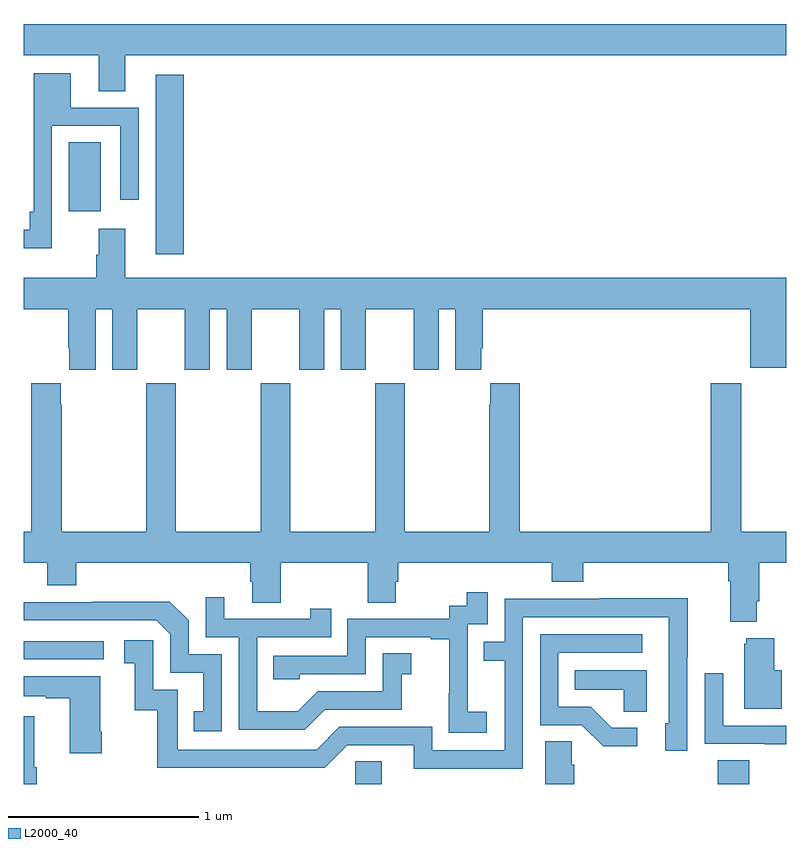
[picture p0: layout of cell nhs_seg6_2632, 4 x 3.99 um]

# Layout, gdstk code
import gdstk
lib = gdstk.Library(unit=1e-6, precision=1e-09)
def R(c, l, rs):  # rectangles x0, y0, x1, y1
    for r in rs: c.add(gdstk.rectangle(r[:2], r[2:], *l))
def P(c, l, *ps):  # polygons
    for p in ps: c.add(gdstk.Polygon(p, *l))
L2000_40 = (2000, 40)

nhs_seg6_2632 = lib.new_cell('nhs_seg6_2632')
R(nhs_seg6_2632, L2000_40, [(268.74,955.5,268.879,955.619), (270.641,955.5,270.806,955.625), (267,956.154,267.418,956.25), (267.692,958.281,267.839,959.221), (267.236,958.506,267.403,958.868)])
P(nhs_seg6_2632, L2000_40, [(267.532,959.324),(271,959.324),(271,959.488),(267,959.488),(267,959.324),(267.392,959.324),(267.392,959.134),(267.532,959.134)],
  [(267.147,958.953),(267.507,958.953),(267.507,958.566),(267.603,958.566),(267.603,959.049),(267.247,959.049),(267.247,959.23),(267.051,959.23),(267.051,958.504),(267.031,958.504),(267.031,958.408),(267,958.408),(267,958.31),(267.147,958.31)],
  [(267.376,957.992),(267.464,957.992),(267.464,957.675),(267.595,957.675),(267.595,957.992),(267.845,957.992),(267.845,957.675),(267.976,957.675),(267.976,957.992),(268.064,957.992),(268.064,957.675),(268.195,957.675),(268.195,957.992),(268.445,957.992),(268.445,957.675),(268.576,957.675),(268.576,957.992),(268.664,957.992),(268.664,957.675),(268.795,957.675),(268.795,957.992),(269.045,957.992),(269.045,957.675),(269.176,957.675),(269.176,957.992),(269.264,957.992),(269.264,957.675),(269.401,957.675),(269.401,957.787),(269.408,957.787),(269.408,957.992),(270.812,957.992),(270.812,957.683),(271,957.683),(271,958.156),(267.532,958.156),(267.532,958.414),(267.392,958.414),(267.392,958.277),(267.38,958.277),(267.38,958.156),(267,958.156),(267,957.992),(267.233,957.992),(267.233,957.787),(267.239,957.787),(267.239,957.675),(267.376,957.675)],
  [(268.347,956.66),(268.804,956.66),(268.804,956.452),(268.951,956.452),(268.951,956.562),(268.964,956.562),(268.964,956.66),(269.771,956.66),(269.771,956.561),(269.936,956.561),(269.936,956.66),(270.695,956.66),(270.695,956.564),(270.707,956.564),(270.707,956.351),(270.847,956.351),(270.847,956.458),(270.86,956.458),(270.86,956.66),(271,956.66),(271,956.824),(270.765,956.824),(270.765,957.604),(270.605,957.604),(270.605,956.824),(269.603,956.824),(269.603,957.604),(269.447,957.604),(269.447,957.491),(269.443,957.491),(269.443,956.824),(268.998,956.824),(268.998,957.604),(268.843,957.604),(268.843,956.824),(268.398,956.824),(268.398,957.604),(268.243,957.604),(268.243,956.824),(267.798,956.824),(267.798,957.604),(267.643,957.604),(267.643,956.824),(267.198,956.824),(267.198,957.491),(267.193,957.491),(267.193,957.604),(267.038,957.604),(267.038,956.824),(267,956.824),(267,956.66),(267.122,956.66),(267.122,956.543),(267.275,956.543),(267.275,956.66),(268.187,956.66),(268.187,956.562),(268.199,956.562),(268.199,956.452),(268.347,956.452)],
  [(269.428,955.879),(269.33,955.879),(269.33,956.108),(269.328,956.108),(269.328,956.337),(269.433,956.337),(269.433,956.506),(269.325,956.506),(269.325,956.436),(269.232,956.436),(269.232,956.367),(268.698,956.367),(268.698,956.172),(268.309,956.172),(268.309,956.049),(268.449,956.049),(268.449,956.076),(268.794,956.076),(268.794,956.271),(269.135,956.271),(269.135,956.259),(269.231,956.259),(269.231,955.975),(269.23,955.975),(269.23,955.769),(269.428,955.769)],
  [(268.579,955.89),(268.983,955.89),(268.983,956.075),(269.032,956.075),(269.032,956.185),(268.884,956.185),(268.884,955.986),(268.542,955.986),(268.438,955.882),(268.224,955.882),(268.224,956.271),(268.613,956.271),(268.613,956.419),(268.502,956.419),(268.502,956.367),(268.051,956.367),(268.051,956.479),(267.954,956.479),(267.954,956.271),(268.128,956.271),(268.128,955.785),(268.474,955.785)],
  [(269.619,956.376),(270.384,956.376),(270.384,955.818),(270.365,955.818),(270.365,955.674),(270.48,955.674),(270.48,956.167),(270.483,956.167),(270.483,956.474),(270.019,956.474),(270.019,956.472),(269.523,956.472),(269.523,956.247),(269.413,956.247),(269.413,956.146),(269.523,956.146),(269.523,955.677),(269.142,955.677),(269.142,955.8),(268.656,955.8),(268.536,955.68),(267.807,955.68),(267.807,955.995),(267.678,955.995),(267.678,956.254),(267.528,956.254),(267.528,956.133),(267.581,956.133),(267.581,955.887),(267.699,955.887),(267.699,955.584),(268.578,955.584),(268.698,955.704),(269.045,955.704),(269.045,955.581),(269.619,955.581)],
  [(268.038,956.181),(267.864,956.181),(267.864,956.358),(267.766,956.456),(267.358,956.456),(267.358,956.454),(267,956.454),(267,956.358),(267.696,956.358),(267.768,956.286),(267.768,956.085),(267.941,956.085),(267.941,955.881),(267.892,955.881),(267.892,955.776),(268.038,955.776)],
  [(270.22,955.794),(270.085,955.794),(269.974,955.905),(269.805,955.905),(269.805,956.19),(270.244,956.19),(270.244,956.286),(269.709,956.286),(269.709,955.809),(269.928,955.809),(270.041,955.697),(270.22,955.697)],
  [(270.976,956.098),(270.937,956.098),(270.937,956.266),(270.791,956.266),(270.791,956.235),(270.779,956.235),(270.779,955.895),(270.976,955.895)],
  [(270.268,956.098),(269.89,956.098),(269.89,955.994),(270.147,955.994),(270.147,955.879),(270.268,955.879)],
  [(271,955.806),(270.669,955.806),(270.669,956.08),(270.573,956.08),(270.573,955.71),(270.889,955.71),(270.889,955.709),(271,955.709)],
  [(267.408,955.774),(267.4,955.774),(267.4,956.065),(267,956.065),(267,955.961),(267.116,955.961),(267.116,955.951),(267.242,955.951),(267.242,955.662),(267.408,955.662)],
  [(267.068,955.588),(267.055,955.588),(267.055,955.855),(267,955.855),(267,955.5),(267.068,955.5)],
  [(269.888,955.601),(269.874,955.601),(269.874,955.724),(269.735,955.724),(269.735,955.5),(269.888,955.5)])

lib.write_gds('nhs_seg6_2632.gds')
